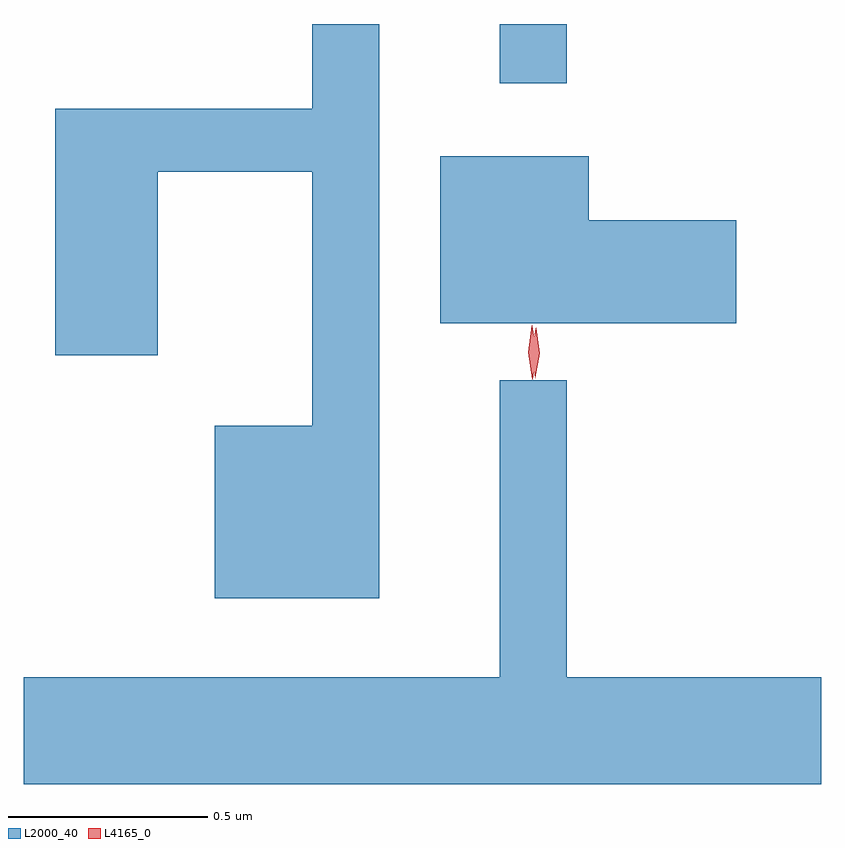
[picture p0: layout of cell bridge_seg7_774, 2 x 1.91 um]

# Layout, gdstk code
import gdstk
lib = gdstk.Library(unit=1e-6, precision=1e-09)
def R(c, l, rs):  # rectangles x0, y0, x1, y1
    for r in rs: c.add(gdstk.rectangle(r[:2], r[2:], *l))
def P(c, l, *ps):  # polygons
    for p in ps: c.add(gdstk.Polygon(p, *l))
L2000_40 = (2000, 40)
L4165_0 = (4165, 0)

bridge_seg7_774 = lib.new_cell('bridge_seg7_774')
R(bridge_seg7_774, L2000_40, [(442.451,1782.673,442.619,1782.821)])
P(bridge_seg7_774, L2000_40, [(442.149,1782.821),(441.981,1782.821),(441.981,1782.609),(441.336,1782.609),(441.336,1781.991),(441.594,1781.991),(441.594,1782.451),(441.981,1782.451),(441.981,1781.814),(441.736,1781.814),(441.736,1781.381),(442.149,1781.381)],
  [(443.044,1782.329),(442.674,1782.329),(442.674,1782.489),(442.301,1782.489),(442.301,1782.071),(443.044,1782.071)],
  [(443.257,1781.184),(442.619,1781.184),(442.619,1781.928),(442.451,1781.928),(442.451,1781.184),(441.257,1781.184),(441.257,1780.916),(443.257,1780.916)])
P(bridge_seg7_774, L4165_0, [(442.54,1781.933),(442.54,1781.934),(442.531,1781.996),(442.541,1782.059),(442.542,1782.06),(442.542,1782.059),(442.551,1781.996),(442.54,1781.934)],
  [(442.532,1781.93),(442.532,1781.93),(442.522,1781.998),(442.531,1782.065),(442.532,1782.066),(442.532,1782.065),(442.542,1781.998),(442.533,1781.93)])

lib.write_gds('bridge_seg7_774.gds')
